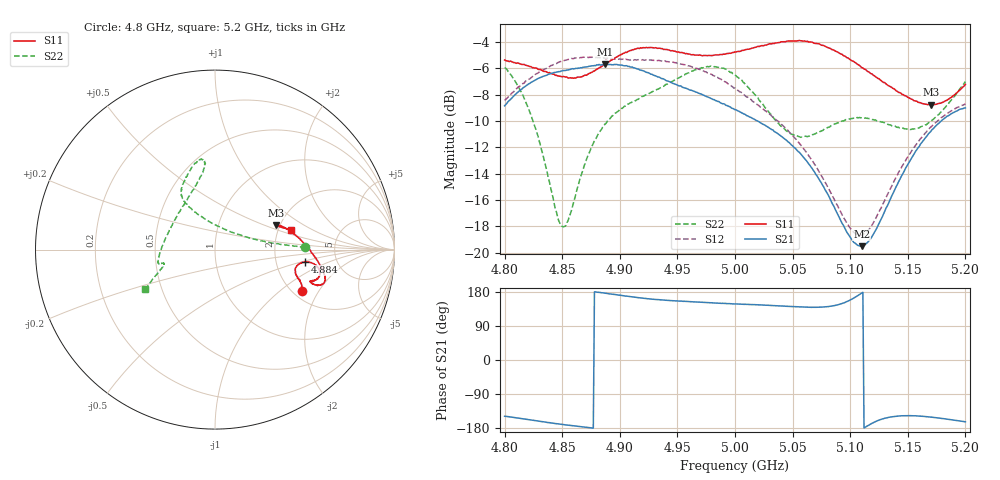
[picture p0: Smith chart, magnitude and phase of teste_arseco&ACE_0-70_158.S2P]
! Network Analyzer HP8722D
! Hewlett-Packard
! Data name: Linha & Wilkinson
! Saver's name: Rodrigo Anjos
! Comments: Teste da utilização de aquisição
! continua pelo VNA HP8722D
! Time and date: 8/5/2025 14:04
!  Frequency  S11  S21  S12  S22
# HZ  S  MA R 50
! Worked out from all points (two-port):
!   401 points, 4.8 GHz to 5.2 GHz, reference 50 ohm
!   highest |S21| = -5.70 dB at 4.887 GHz (marker M1); lowest = -19.5 dB at 5.11 GHz (marker M2)
!   |S21| within 3 dB of the highest: 4.802 GHz to 4.99 GHz (188.5 MHz wide, 3.85 % of centre)
!   lowest |S11| = -8.8 dB at 5.17 GHz (marker M3), VSWR 2.15, Z = 94.9 + j29.9 ohm
!   |S11| at or under -10 dB: nowhere
!   |S22| runs from -18.0 to -5.8 dB; largest |S21 - S12| = 1.1
!   S11 on the Smith chart (normalised r, x): 4.8 GHz: 2.23, -1.46; 4.884 GHz: 2.95, -0.54; 5.2 GHz: 2.33, +0.64
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4.8e9  0.5387 -25.5  0.3609 -148.4  0.3784 11.0  0.5037 1.6
4.812e9  0.5239 -22.5  0.4085 -153.2  0.4267 9.2  0.4258 2.8
4.823e9  0.5081 -20.7  0.4432 -158.3  0.4615 7.6  0.3317 6.0
4.849e9  0.4666 -16.2  0.4892 -169.5  0.5319 3.6  0.1269 56.9
4.855e9  0.4603 -14.5  0.4937 -171.9  0.5406 2.6  0.1321 84.1
4.867e9  0.4651 -11.1  0.5031 -176.2  0.5502 1.0  0.1998 112.5
4.884e9  0.5077 -7.7  0.5154 177.5  0.5477 -0.5  0.2933 122.1
4.887e9  0.517 -7.7  0.519 176.4  0.5471 -0.3  0.3073 122.4
4.913e9  0.5926 -10.9  0.5023 165.6  0.5398 -0.1  0.3768 119.9
4.934e9  0.5969 -15.6  0.4642 159.1  0.5367 -1.0  0.4191 113.7
4.977e9  0.5605 -18.5  0.389 151.4  0.4805 -4.9  0.5074 99.2
5e9  0.5781 -19.1  0.3489 147.8  0.4216 -4.9  0.4728 97.4
5.018e9  0.602 -19.1  0.3182 145.9  0.3684 -2.4  0.395 103.7
5.044e9  0.6319 -17.4  0.2687 141.8  0.2958 3.2  0.2917 131.2
5.067e9  0.6294 -13.3  0.2087 139.1  0.224 9.6  0.2804 164.3
5.098e9  0.5486 -2.9  0.1181 155.5  0.1277 36.3  0.3214 -170.3
5.11e9  0.5042 2.6  0.106 176.5  0.1166 60.0  0.325 -166.9
5.119e9  0.4769 7.4  0.1155 -167.0  0.1276 77.4  0.3202 -165.8
5.134e9  0.4289 14.3  0.1568 -151.0  0.1722 94.8  0.3058 -165.5
5.154e9  0.3818 20.9  0.2318 -147.2  0.246 102.0  0.2953 -164.2
5.17e9  0.3645 22.0  0.2885 -150.6  0.2999 102.9  0.3142 -160.6
5.2e9  0.4355 14.7  0.3544 -163.1  0.3675 103.4  0.4462 -150.4
